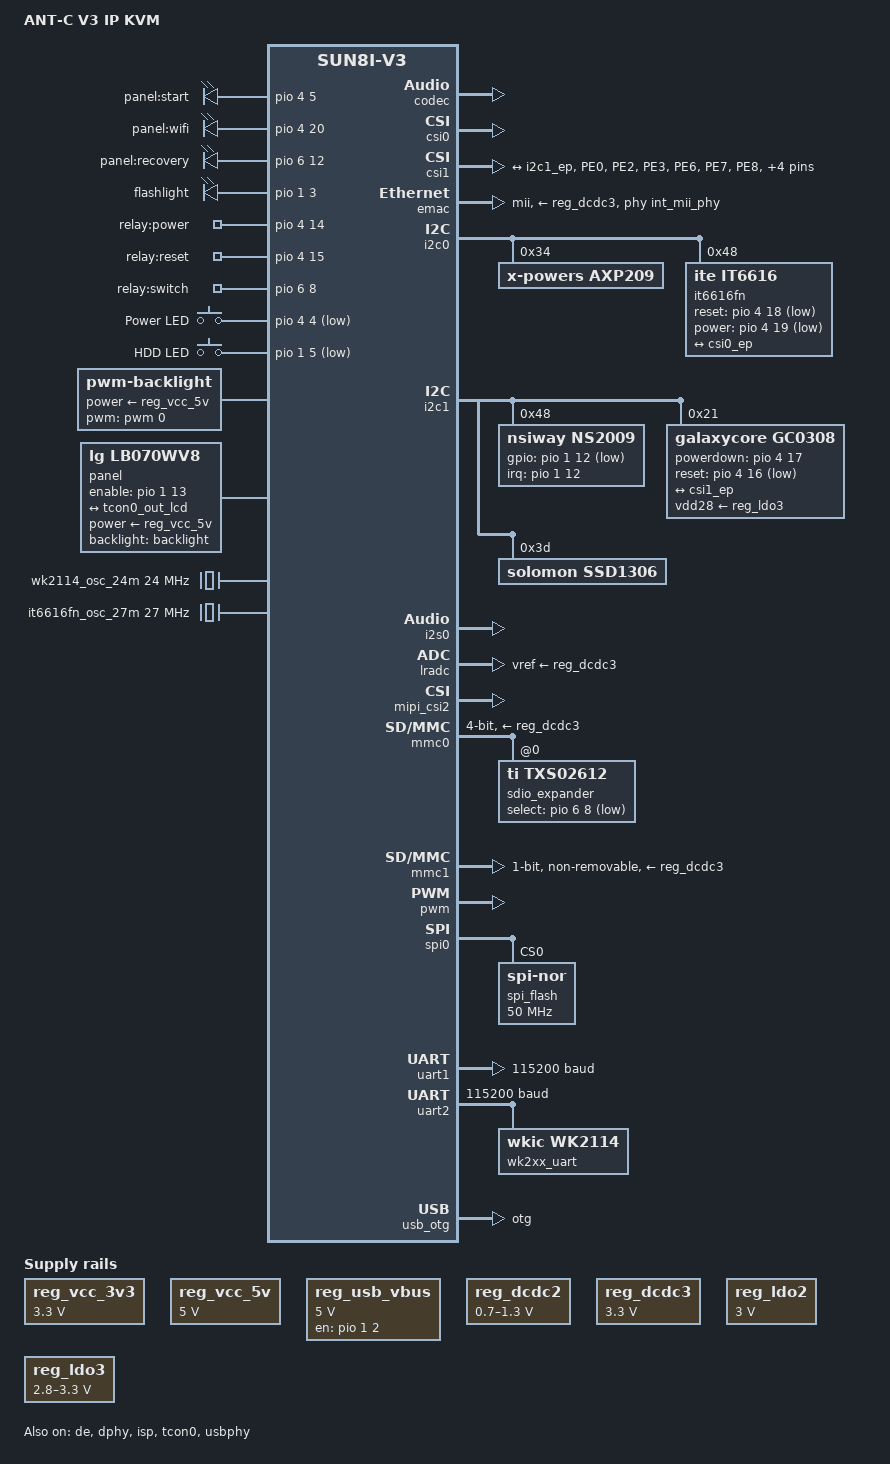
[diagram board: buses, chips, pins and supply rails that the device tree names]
// SPDX-License-Identifier: (GPL-2.0+ OR X11)
/*
 * Copyright 2023 BigfootACA <bigfoot@classfun.cn>
 */

/dts-v1/;

#include "sun8i-v3.dtsi"

#include <dt-bindings/pwm/pwm.h>
#include <dt-bindings/gpio/gpio.h>
#include <dt-bindings/input/input.h>

/ {
	model = "ANT-C V3 IP KVM";
	compatible = "ant-c,v3-ipkvm", "allwinner,sun8i-v3";
	chassis-type = "embedded";

	aliases {
		serial0 = &uart1;
		serial1 = &uart2;
		ethernet0 = &emac;
		i2c0 = &i2c0;
		i2c1 = &i2c1;
		spi0 = &spi0;
		rtc0 = &rtc;
		mmc0 = &mmc0;
		mmc1 = &mmc1;
	};

	chosen {
		stdout-path = "serial0:115200n8";
		bootargs = "earlycon=uart8250,mmio32,0x1c28400 console=ttyS0,115200n8";
	};

	leds: leds {
		compatible = "gpio-leds";

		/* Panel Start LED (START_LED) */
		led_panel_start: led-panel-start {
			label = "panel:start";
			gpios = <&pio 4 5 GPIO_ACTIVE_HIGH>; /* PE5 */
			default-state = "on";
		};

		/* Panel WiFi LED (WIFI_LED) */
		led_panel_wifi: led-panel-wifi {
			label = "panel:wifi";
			gpios = <&pio 4 20 GPIO_ACTIVE_HIGH>; /* PE20 */
			default-state = "off";
		};

		/* Panel Recovery LED (REC_LED) */
		led_panel_recovery: led-panel-recovery {
			label = "panel:recovery";
			gpios = <&pio 6 12 GPIO_ACTIVE_HIGH>; /* PG12 */
			default-state = "off";
			panic-indicator;
		};

		/* 5V Flashlight for Camera */
		flashlight: flashlight {
			/* TODO: untested */
			label = "flashlight";
			gpios = <&pio 1 3 GPIO_ACTIVE_HIGH>; /* PB3 */
			default-state = "off";
		};
	};

	/* TODO: untested */
	relay: relay {
		compatible = "gpio-leds";

		// Relay SWA Power
		relay_swa_power: relay-swa-power {
			label = "relay:power";
			gpios = <&pio 4 14 GPIO_ACTIVE_HIGH>; /* PE14 */
			default-state = "off";
		};

		// Relay SWB Reset
		relay_swb_reset: relay-swb-reset {
			label = "relay:reset";
			gpios = <&pio 4 15 GPIO_ACTIVE_HIGH>; /* PE15 */
			default-state = "off";
		};

		// Relay SWC Switch (mux with SDC_SEL0?)
		relay_swc_switch: relay-swc-switch {
			label = "relay:switch";
			gpios = <&pio 6 8 GPIO_ACTIVE_HIGH>; /* PG8 */
			default-state = "off";
		};
	};

	/* TODO: untested */
	optoisolators: optoisolators {
		compatible = "gpio-keys-polled";
		label = "optoisolators";
		poll-interval = <200>;

		// Optoisolator Power LED (POW_LED)
		optoisolator_pow: optoisolator-pow {
			label = "Power LED";
			gpios = <&pio 4 4 GPIO_ACTIVE_LOW>; /* PE4 */
			linux,code = <KEY_MACRO1>;
		};

		// Optoisolator HDD LED (HDD_LED)
		optoisolator_hdd: optoisolator-hdd {
			label = "HDD LED";
			gpios = <&pio 1 5 GPIO_ACTIVE_LOW>; /* PB5 */
			linux,code = <KEY_MACRO2>;
		};
	};

	/* 5V Backlight for LCD */
	backlight: backlight {
		/* TODO: untested */
		compatible = "pwm-backlight";
		pwms = <&pwm 0 50000 PWM_POLARITY_INVERTED>;
		brightness-levels = <0 10 20 30 40 50 60 70 80 90 100>;
		default-brightness-level = <8>;
		power-supply = <&reg_vcc_5v>;
	};

	/* LCD Panel */
	panel: panel {
		/* TODO: untested */
		compatible = "lg,lb070wv8", "simple-panel";
		backlight = <&backlight>;
		enable-gpios = <&pio 1 13 GPIO_ACTIVE_HIGH>; /* PB13 */
		power-supply = <&reg_vcc_5v>;

		port {
			panel_input: endpoint {
				remote-endpoint = <&tcon0_out_lcd>;
			};
		};
	};

	/* For pin controller */
	reg_vcc_3v3: vcc-3v3 {
		compatible = "regulator-fixed";
		regulator-name = "vcc-3v3";
		regulator-min-microvolt = <3300000>;
		regulator-max-microvolt = <3300000>;
		regulator-boot-on;
	};

	/* Board 5V Power */
	reg_vcc_5v: vcc-5v {
		compatible = "regulator-fixed";
		regulator-name = "vcc-5v";
		regulator-min-microvolt = <5000000>;
		regulator-max-microvolt = <5000000>;
		regulator-boot-on;
	};

	/* USB Type-C 5V VBUS */
	reg_usb_vbus: usb-vbus {
		compatible = "regulator-fixed";
		regulator-name = "usb-vbus";
		regulator-min-microvolt = <5000000>;
		regulator-max-microvolt = <5000000>;
		enable-active-high;
		gpio = <&pio 1 2 GPIO_ACTIVE_HIGH>; /* PB2 */
	};

	/* Boot rom for debug */
	boot_rom: brom@0 {
		compatible = "mtd-rom";
		reg = <0xFFFF0000 0x8000>;
		bank-width = <4>;
		probe-type = "map_rom";
	};

	/* 24M OSC for WK2114 */
	wk2114_osc_24m: wk2114-clock {
		compatible = "fixed-clock";
		#clock-cells = <0>;
		clock-frequency = <24000000>;
		clock-accuracy = <50000>;
		clock-output-names = "WK2114-24M";
	};
	/* 24M OSC for IT6616FN */
	it6616fn_osc_27m: it6616fn-clock {
		compatible = "fixed-clock";
		#clock-cells = <0>;
		clock-frequency = <27000000>;
		clock-accuracy = <50000>;
		clock-output-names = "IT6616FN-27M";
	};
};

/* Audio codec */
&codec {
	status = "okay";
	allwinner,audio-routing =
		"Speaker", "LINEOUT",
		"MIC1", "Mic",
		"MIC2", "Headset Mic",
		"Mic",	"MBIAS";
};

/* Regulator for CPU */
&cpu0 {
	cpu-supply = <&reg_dcdc2>;
	/* FIXME: DVFS not work */
};

/* HDMI IT6616FN */
&csi0 {
	status = "okay";
	/* NOTICE: IT6616FN use mipi_csi2 */
};

/* DVP Camera CSI */
&csi1 {
	status = "okay";
	/* TODO: untested */
	pinctrl-names = "default";
	pinctrl-0 = <&csi1_pins>;

	port {
		csi1_ep: endpoint {
			remote-endpoint = <&i2c1_ep>;
			bus-width = <8>;
			hsync-active = <1>;
			vsync-active = <1>;
			data-active = <1>;
			pclk-sample = <1>;
		};
	};
};

/* Display engine */
&de {
	status = "okay";
	/* TODO: untested */
};

/* MIPI CSI PHY */
&dphy {
	status = "okay";
};

/* 10/100M Ethernet */
&emac {
	phy-handle = <&int_mii_phy>;
	phy-supply = <&reg_dcdc3>;
	phy-mode = "mii";
	status = "okay";
};

/* AXP209 and IT6616FN */
&i2c0 {
	status = "okay";

	axp209: pmic@34 {
		compatible = "x-powers,axp209";
		reg = <0x34>;
		interrupt-parent = <&nmi_intc>;
		interrupts = <0 IRQ_TYPE_LEVEL_LOW>;
	};

	it6616fn: it6616fn@48 {
		status = "okay";
		compatible = "ite,it6616";
		reg = <0x48>;
		reset-gpio = <&pio 4 18 GPIO_ACTIVE_LOW>; /* PE18 */
		power-gpio = <&pio 4 19 GPIO_ACTIVE_LOW>; /* PE19 */
		clocks = <&it6616fn_osc_27m 0>;
		clock-names = "xvclk";

		port {
			i2c0_ep: endpoint {
				remote-endpoint = <&csi0_ep>;
				data-lanes = <1 2 3 4>;
			};
		};
	};
};

/* Camera and NS2009 */
&i2c1 {
	pinctrl-0 = <&i2c1_pb_pins>;
	pinctrl-names = "default";
	status = "okay";

	/* Resistive touch screen controller */
	ns2009: ns2009@48 {
		compatible = "nsiway,ns2009", "ti,tsc2007";
		/* TODO: untested */
		reg = <0x48>;
		interrupt-parent = <&pio>;
		interrupts = <1 12 IRQ_TYPE_EDGE_RISING>; /* PB12 */
		gpios = <&pio 1 12 GPIO_ACTIVE_LOW>;
		ti,x-plate-ohms = <180>;
	};

	/* DVP Camera GC0308 640x480 */
	gc0308: camera-sensor@21 {
		compatible = "galaxycore,gc0308";
		reg = <0x21>;
		pinctrl-names = "default";
		pinctrl-0 = <&csi1_mclk_pin>;
		clocks = <&ccu CLK_CSI1_MCLK>;
		clock-names = "xclk";

		powerdown-gpios = <&pio 4 17 GPIO_ACTIVE_HIGH>; /* PE17 */
		reset-gpios = <&pio 4 16 GPIO_ACTIVE_LOW>; /* PE16 */
		vdd28-supply = <&reg_ldo3>;

		port {
			i2c1_ep: endpoint {
				remote-endpoint = <&csi1_ep>;
				bus-width = <8>;
				data-shift = <2>;
				hsync-active = <1>;
				vsync-active = <1>;
				data-active = <1>;
				pclk-sample = <1>;
			};
		};
	};

	/* SSD1306 OLED Screen */
	ssd1306: oled@3d {
		compatible = "solomon,ssd1306";
		reg = <0x3d>;
		solomon,com-invdir;
		solomon,page-size = <0>;
		solomon,width = <128>;
		solomon,height = <64>;
	};
};

/* I2S for IT6616FN */
&i2s0 {
	status = "okay";
	/* TODO: untested */
};

/* I2S Pins for IT6616FN */
&i2s0_pins {
	pins = "PG10", "PG11", "PG13"; /* PG12 used for REC_LED */
	/* TODO: untested */
};

/* Image Signal Processor */
&isp {
	status = "okay";
	/* TODO: untested */
};

/* Buttons in Panel */
&lradc {
	vref-supply = <&reg_dcdc3>;
	status = "okay";

	lradc_btn1: button-200 {
		label = "VOL+";
		linux,code = <KEY_F1>;
		channel = <0>;
		voltage = <200000>;
	};

	lradc_btn2: button-400 {
		label = "VOL+1";
		linux,code = <KEY_F2>;
		channel = <0>;
		voltage = <400000>;
	};

	lradc_btn3: button-600 {
		label = "VOL+2";
		linux,code = <KEY_F3>;
		channel = <0>;
		voltage = <600000>;
	};

	lradc_btn4: button-800 {
		label = "VOL+3";
		linux,code = <KEY_F4>;
		channel = <0>;
		voltage = <800000>;
	};
};

/* HDMI IT6616FN */
&mipi_csi2 {
	status = "okay";
};

/* HDMI IT6616FN Endpoint */
&mipi_csi2_in {
	csi0_ep: endpoint {
		remote-endpoint = <&i2c0_ep>;
		data-lanes = <1 2 3 4>;
	};
};

/* SD card slots expander */
&mmc0 {
	cd-gpio = <&pio 5 6 GPIO_ACTIVE_LOW>; /* PF6 */
	bus-width = <4>;
	vmmc-supply = <&reg_dcdc3>;
	status = "okay";

	/* TODO: not work yet */
	sdio_expander: txs02612@0 {
		compatible = "ti,txs02612";
		reg = <0>;
		select-gpio = <&pio 6 8 GPIO_ACTIVE_LOW>; /* PG8 (mux with SWC?) */
		#address-cells = <1>;
		#size-cells = <0>;

		slot_sd: port@0 {
			reg = <0>;
			gpio-value = <0>;
			bus-width = <4>;
		};

		slot_wifi: port@1 {
			reg = <1>;
			gpio-value = <1>;
			bus-width = <4>;
		};
	};
};

/* Onboard eMMC */
&mmc1 {
	non-removable;
	/* FIXME: actually 4bit, error happen when write requests */
	bus-width = <1>;
	/*bus-width = <4>;*/
	cap-mmc-hw-reset;
	vmmc-supply = <&reg_dcdc3>;
	vqmmc-supply = <&reg_dcdc3>;
	status = "okay";
};

/* SoC Pin Controller */
&pio {
	vcc-pb-supply = <&reg_vcc_3v3>;
	vcc-pc-supply = <&reg_vcc_3v3>;
	vcc-pd-supply = <&reg_vcc_3v3>;
	vcc-pe-supply = <&reg_vcc_3v3>;
	vcc-pf-supply = <&reg_vcc_3v3>;
	vcc-pg-supply = <&reg_vcc_3v3>;

	/* Pins for CSI1 */
	csi1_pins: csi1-pins {
		pins = "PE0", "PE2", "PE3", "PE6", "PE7",
			"PE8", "PE9", "PE10", "PE11", "PE12";
		function = "csi";
	};

	/* Pins for LCD Panel */
	lcd_rgb666_pins: lcd-rgb666-pins {
		pins = "PD0", "PD1", "PD2", "PD3", "PD4", "PD5",
			"PD6", "PD7", "PD8", "PD9", "PD10", "PD11",
			"PD12", "PD13", "PD14", "PD15", "PD16",
			"PD17", "PD18", "PD19", "PD20", "PD21";
		function = "lcd";
	};
};

/* PWM for LCD Backlight */
&pwm {
	status = "okay";
	/* TODO: untested */
};

/* Onboard SPI nor flash for boot */
&spi0 {
	status = "okay";

	/* TODO: untested */
	spi_flash: flash@0 {
		reg = <0>;
		compatible = "jedec,spi-nor";
		spi-max-frequency = <50000000>;
	};
};

/* Display connector */
&tcon0 {
	status = "okay";
	pinctrl-names = "default";
	pinctrl-0 = <&lcd_rgb666_pins>;
	/* TODO: untested */
};

/* Display panel */
&tcon0_out {
	tcon0_out_lcd: endpoint {
		remote-endpoint = <&panel_input>;
	};
};

/* Debug UART (CH343P and UART head) */
&uart1 {
	current-speed = <115200>;
	pinctrl-0 = <&uart1_pg_pins>;
	pinctrl-names = "default";
	status = "okay";
};

/* External RS232 */
&uart2 {
	current-speed = <115200>;
	status = "okay";

	wk2xx_uart {
		/* TODO: need driver */
		compatible = "wkic,wk2114";
		clocks = <&wk2114_osc_24m>;
		clock-names = "osc";
	};
};

/* Peripheral USB Type-C to host or debug */
&usb_otg {
	dr_mode = "otg";
	status = "okay";
};

/* mUSB PHY */
&usbphy {
	usb0_id_det-gpios = <&pio 6 9 GPIO_ACTIVE_HIGH>; /* PG9 */
	usb0_vbus-supply = <&reg_usb_vbus>;
	status = "okay";
};

#include "axp209.dtsi"

/* PoE 48V Power */
&ac_power_supply {
	status = "okay";
};

/* External Battery */
&battery_power_supply {
	status = "okay";
};

/* USB VBUS */
&usb_power_supply {
	status = "okay";
};

/* AXP209 1.25V for System and CPU */
&reg_dcdc2 {
	regulator-always-on;
	regulator-boot-on;
	regulator-min-microvolt = <700000>;
	regulator-max-microvolt = <1300000>;
	regulator-name = "vdd-sys-cpu";
};

/* AXP209 3.3V for I/O */
&reg_dcdc3 {
	regulator-always-on;
	regulator-min-microvolt = <3300000>;
	regulator-max-microvolt = <3300000>;
	regulator-name = "vcc-io";
};

/* AXP209 3.3V for RTC (always on) */
&reg_ldo1 {
	regulator-name = "vcc-rtc";
};

/* AXP209 3.0V for Analong and PLL */
&reg_ldo2 {
	regulator-always-on;
	regulator-min-microvolt = <3000000>;
	regulator-max-microvolt = <3000000>;
	regulator-name = "avcc";
};

/* AXP209 2.8V / 3.3V for Camera */
&reg_ldo3 {
	regulator-always-on;
	regulator-min-microvolt = <2800000>;
	regulator-max-microvolt = <3300000>;
	regulator-name = "vcc-pe-cam";
	/* TODO: untested */
};
